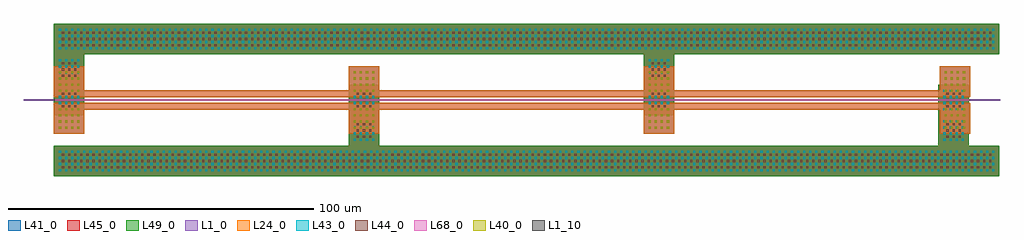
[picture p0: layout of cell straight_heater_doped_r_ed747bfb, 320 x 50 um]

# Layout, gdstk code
from math import pi, radians
import gdstk
lib = gdstk.Library(unit=1e-6, precision=1e-09)
def R(c, l, rs):  # rectangles x0, y0, x1, y1
    for r in rs: c.add(gdstk.rectangle(r[:2], r[2:], *l))
L1_0 = (1, 0)
L1_10 = (1, 10)
L24_0 = (24, 0)
L40_0 = (40, 0)
L41_0 = (41, 0)
L43_0 = (43, 0)
L44_0 = (44, 0)
L45_0 = (45, 0)
L49_0 = (49, 0)
L68_0 = (68, 0)

straight_d465cddf = lib.new_cell('straight_d465cddf')
R(straight_d465cddf, L1_0, [(0,-3.05,300,-1.05), (0,-0.25,300,0.25), (0,1.05,300,3.05)])
R(straight_d465cddf, L24_0, [(0,-3.15,300,-0.95), (0,0.95,300,3.15)])
R(straight_d465cddf, L68_0, [(0,-0.25,300,0.25)])
straight_d465cddf.add(gdstk.FlexPath([(0.001,0),(-0.001,0)], 0.5, ends="flush", simple_path=True, layer=1, datatype=10))  # L1_10
straight_d465cddf.add(gdstk.FlexPath([(299.999,0),(300.001,0)], 0.5, ends="flush", simple_path=True, layer=1, datatype=10))  # L1_10
straight_d465cddf.add(gdstk.Label('o1', (0,0), layer=1, texttype=10))
straight_d465cddf.add(gdstk.Label('o2', (300,0), layer=1, texttype=10))

extrude_2f055cb6 = lib.new_cell('extrude_2f055cb6')
R(extrude_2f055cb6, L1_0, [(0,-0.25,5.051,0.25), (5.051,-0.25,10,0.25)])

taper_cross_section_3126 = lib.new_cell('taper_cross_section_312650e5')
taper_cross_section_3126.add(gdstk.Reference(extrude_2f055cb6, (0,0)))

compass_0b11d190 = lib.new_cell('compass_0b11d190')
R(compass_0b11d190, L41_0, [(-5,-5,5,5)])

compass_5a413983 = lib.new_cell('compass_5a413983')
R(compass_5a413983, L45_0, [(-5,-5,5,5)])

compass_ecc862d4 = lib.new_cell('compass_ecc862d4')
R(compass_ecc862d4, L49_0, [(-5,-5,5,5)])

via_enclosure2_layervia1 = lib.new_cell('via_enclosure2_layerVIA1')
R(via_enclosure2_layervia1, L44_0, [(-0.35,-0.35,0.35,0.35)])

via_layervia2 = lib.new_cell('via_layerVIA2')
R(via_layervia2, L43_0, [(-0.35,-0.35,0.35,0.35)])

via_stack_0ff76abf = lib.new_cell('via_stack_0ff76abf')
via_stack_0ff76abf.add(gdstk.Reference(compass_0b11d190, (0,0)))
via_stack_0ff76abf.add(gdstk.Reference(compass_5a413983, (0,0)))
via_stack_0ff76abf.add(gdstk.Reference(compass_ecc862d4, (0,0)))
r = gdstk.Reference(via_enclosure2_layervia1, (-2,-2)); r.repetition = gdstk.Repetition(3, 3, v1=(2,0), v2=(0,2)); via_stack_0ff76abf.add(r)
r = gdstk.Reference(via_layervia2, (-3,-3)); r.repetition = gdstk.Repetition(4, 4, v1=(2,0), v2=(0,2)); via_stack_0ff76abf.add(r)

compass_92108daa = lib.new_cell('compass_92108daa')
R(compass_92108daa, L1_0, [(-5,-5,5,5)])

compass_74d08cd5 = lib.new_cell('compass_74d08cd5')
R(compass_74d08cd5, L24_0, [(-5,-5,5,5)])

compass_b9cdef90 = lib.new_cell('compass_b9cdef90')
R(compass_b9cdef90, L41_0, [(-5,-5,5,5)])

via = lib.new_cell('via')
R(via, L40_0, [(-0.35,-0.35,0.35,0.35)])

via_stack_052aab03 = lib.new_cell('via_stack_052aab03')
via_stack_052aab03.add(gdstk.Reference(compass_92108daa, (0,0)))
via_stack_052aab03.add(gdstk.Reference(compass_74d08cd5, (0,0)))
via_stack_052aab03.add(gdstk.Reference(compass_b9cdef90, (0,0)))
r = gdstk.Reference(via, (-3,-3)); r.repetition = gdstk.Repetition(4, 4, v1=(2,0), v2=(0,2)); via_stack_052aab03.add(r)

compass_c514e978 = lib.new_cell('compass_c514e978')
R(compass_c514e978, L41_0, [(-155,-5,155,5)])

compass_bc9b865b = lib.new_cell('compass_bc9b865b')
R(compass_bc9b865b, L45_0, [(-155,-5,155,5)])

compass_cdd8d5ef = lib.new_cell('compass_cdd8d5ef')
R(compass_cdd8d5ef, L49_0, [(-155,-5,155,5)])

via_stack_d211d959 = lib.new_cell('via_stack_d211d959')
via_stack_d211d959.add(gdstk.Reference(compass_c514e978, (0,0)))
via_stack_d211d959.add(gdstk.Reference(compass_bc9b865b, (0,0)))
via_stack_d211d959.add(gdstk.Reference(compass_cdd8d5ef, (0,0)))
r = gdstk.Reference(via_enclosure2_layervia1, (-152,-2)); r.repetition = gdstk.Repetition(153, 3, v1=(2,0), v2=(0,2)); via_stack_d211d959.add(r)
r = gdstk.Reference(via_layervia2, (-153,-3)); r.repetition = gdstk.Repetition(154, 4, v1=(2,0), v2=(0,2)); via_stack_d211d959.add(r)

straight_heater_doped_r_ = lib.new_cell('straight_heater_doped_r_ed747bfb')
straight_heater_doped_r_.add(gdstk.Reference(straight_d465cddf, (0,0)))
straight_heater_doped_r_.add(gdstk.Reference(taper_cross_section_3126, (-10,0)))
straight_heater_doped_r_.add(gdstk.Reference(taper_cross_section_3126, (310,0), rotation=pi, x_reflection=True))
straight_heater_doped_r_.add(gdstk.Reference(via_stack_0ff76abf, (4.8,0)))
straight_heater_doped_r_.add(gdstk.Reference(via_stack_0ff76abf, (4.8,10)))
straight_heater_doped_r_.add(gdstk.Reference(via_stack_052aab03, (4.8,6.05)))
straight_heater_doped_r_.add(gdstk.Reference(via_stack_052aab03, (4.8,-6.05)))
straight_heater_doped_r_.add(gdstk.Reference(via_stack_0ff76abf, (101.467,0)))
straight_heater_doped_r_.add(gdstk.Reference(via_stack_0ff76abf, (101.467,-10)))
straight_heater_doped_r_.add(gdstk.Reference(via_stack_052aab03, (101.467,6.05)))
straight_heater_doped_r_.add(gdstk.Reference(via_stack_052aab03, (101.467,-6.05)))
straight_heater_doped_r_.add(gdstk.Reference(via_stack_0ff76abf, (198.134,0)))
straight_heater_doped_r_.add(gdstk.Reference(via_stack_0ff76abf, (198.134,10)))
straight_heater_doped_r_.add(gdstk.Reference(via_stack_052aab03, (198.134,6.05)))
straight_heater_doped_r_.add(gdstk.Reference(via_stack_052aab03, (198.134,-6.05)))
straight_heater_doped_r_.add(gdstk.Reference(via_stack_0ff76abf, (294.801,0)))
straight_heater_doped_r_.add(gdstk.Reference(via_stack_0ff76abf, (294.801,-10)))
straight_heater_doped_r_.add(gdstk.Reference(via_stack_052aab03, (295.201,6.05)))
straight_heater_doped_r_.add(gdstk.Reference(via_stack_052aab03, (295.201,-6.05)))
straight_heater_doped_r_.add(gdstk.Reference(via_stack_d211d959, (154.8,20)))
straight_heater_doped_r_.add(gdstk.Reference(via_stack_d211d959, (154.8,-20)))

lib.write_gds('straight_heater_doped_r_ed747bfb.gds')
